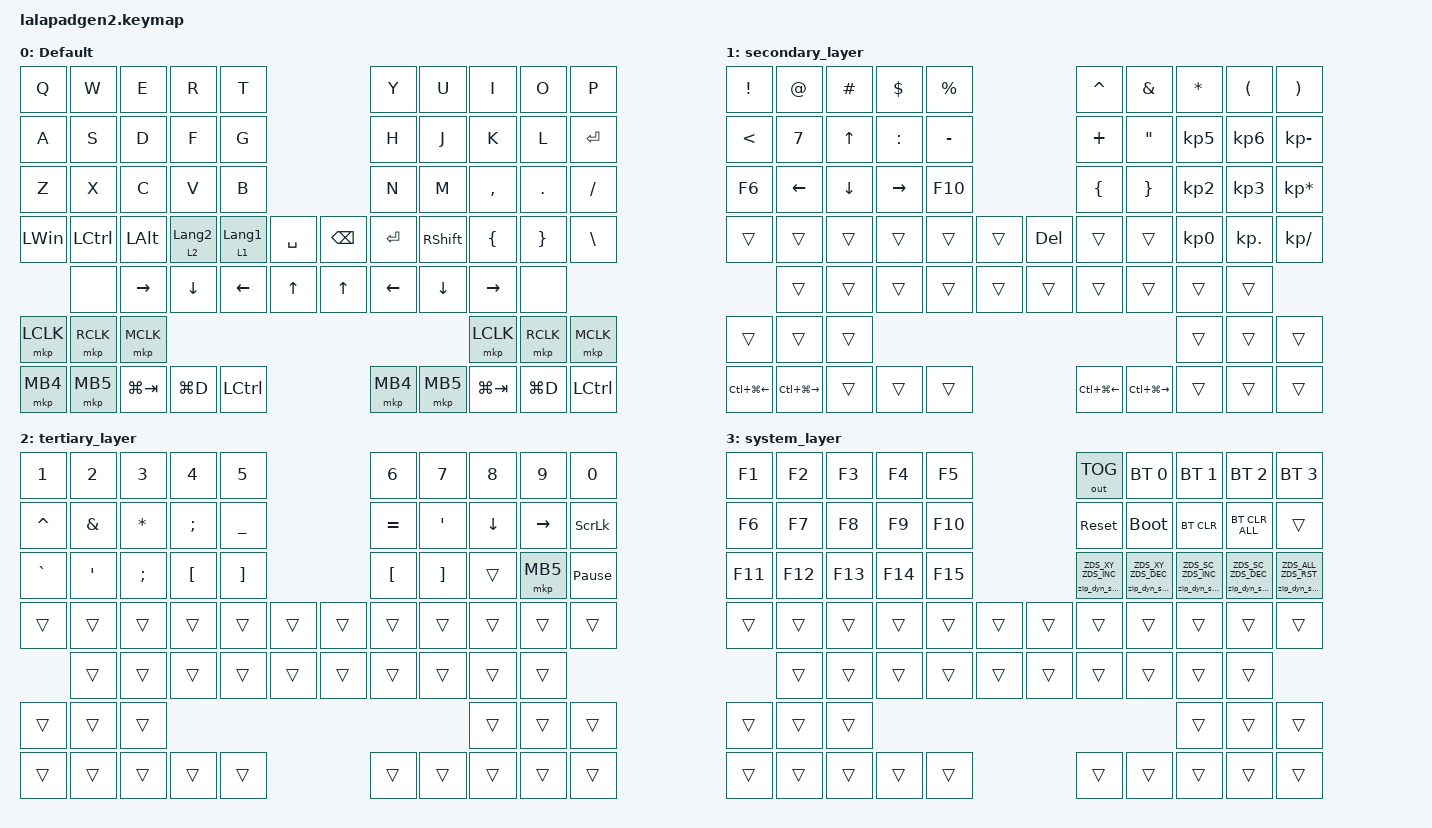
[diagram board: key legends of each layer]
#include <input/processors.dtsi>
#include <dt-bindings/zmk/zip_dynamic_scale.h>
#include <behaviors.dtsi>
#include <dt-bindings/zmk/bt.h>
#include <dt-bindings/zmk/keys.h>
#include <dt-bindings/zmk/outputs.h>
#include <dt-bindings/zmk/pointing.h>

#define DEFAULT_LAYER   0
#define SECONDARY_LAYER 1
#define TERTIARY_LAYER  2
#define SYSTEM_LAYER    3

&mt { quick-tap-ms = <200>; };

&lt { quick-tap-ms = <200>; };

/ {
    behaviors {
        zip_dyn_scale: zip_dyn_scale {
            compatible = "zmk,behavior-zip-dynamic-scale";
            #binding-cells = <2>;
        };

        zip_dyn_scale_set: zip_dyn_scale_set {
            compatible = "zmk,behavior-zip-dynamic-scale-set";
            #binding-cells = <2>;
        };

        mt2: mod_tap2 {
            compatible = "zmk,behavior-hold-tap";
            #binding-cells = <2>;
            flavor = "tap-preferred";
            tapping-term-ms = <200>;
            quick-tap-ms = <200>;
            require-prior-idle-ms = <125>;
            bindings = <&kp>, <&kp>;
        };

        tap_dance_layer_1and2: tap_dance_layer_1and2 {
            compatible = "zmk,behavior-tap-dance";
            label = "td_mo12";
            #binding-cells = <0>;
            bindings = <&mo 1>, <&mo 2>;
        };
    };

    combos {
        compatible = "zmk,combos";

        combo_l_tab {
            bindings = <&kp TAB>;
            key-positions = <10 11>;
        };

        combo_r_screenshot {
            bindings = <&kp PRINTSCREEN>;
            key-positions = <16 17>;
        };
    };

    keymap {
        compatible = "zmk,keymap";

        DEFAULT_LAYER {
            display-name = "Default";
            bindings = <
&kp Q         &kp W      &kp E         &kp R             &kp T                                       &kp Y      &kp U            &kp I           &kp O            &kp P
&kp A         &kp S      &kp D         &kp F             &kp G                                       &kp H      &kp J            &kp K           &kp L            &kp ENTER
&kp Z         &kp X      &kp C         &kp V             &kp B                                       &kp N      &kp M            &kp COMMA       &kp PERIOD       &kp SLASH
&kp LEFT_WIN  &kp LCTRL  &kp LEFT_ALT  &lt 2 LANGUAGE_2  &lt 1 LANGUAGE_1  &kp SPACE  &kp BACKSPACE  &kp ENTER  &kp RIGHT_SHIFT  &kp LEFT_BRACE  &kp RIGHT_BRACE  &kp BACKSLASH
              &none      &kp RIGHT     &kp DOWN          &kp LEFT          &kp UP     &kp UP         &kp LEFT   &kp DOWN         &kp RIGHT       &none
&mkp LCLK     &mkp RCLK  &mkp MCLK                                                                                               &mkp LCLK       &mkp RCLK        &mkp MCLK
&mkp MB4      &mkp MB5   &kp LG(TAB)   &kp LG(D)         &kp LCTRL                                   &mkp MB4   &mkp MB5         &kp LG(TAB)     &kp LG(D)        &kp LCTRL
            >;
        };

        SECONDARY_LAYER {
            display-name = "secondary_layer";
            bindings = <
&kp EXCLAMATION   &kp AT             &kp HASH        &kp DLLR   &kp PERCENT                   &kp CARET         &kp AMPS           &kp ASTRK        &kp LPAR         &kp RPAR
&kp LT            &kp N7             &kp UP_ARROW    &kp COLON  &kp MINUS                     &kp PLUS          &kp DOUBLE_QUOTES  &kp KP_NUMBER_5  &kp KP_NUMBER_6  &kp KP_MINUS
&kp F6            &kp LEFT           &kp DOWN_ARROW  &kp RIGHT  &kp F10                       &kp LEFT_BRACE    &kp RBRC           &kp KP_NUMBER_2  &kp KP_NUMBER_3  &kp KP_ASTERISK
&trans            &trans             &trans          &trans     &trans       &trans  &kp DEL  &trans            &trans             &kp KP_NUMBER_0  &kp KP_DOT       &kp KP_DIVIDE
                  &trans             &trans          &trans     &trans       &trans  &trans   &trans            &trans             &trans           &trans
&trans            &trans             &trans                                                                                        &trans           &trans           &trans
&kp LC(LG(LEFT))  &kp LC(LG(RIGHT))  &trans          &trans     &trans                        &kp LC(LG(LEFT))  &kp LC(LG(RIGHT))  &trans           &trans           &trans
            >;
        };

        TERTIARY_LAYER {
            display-name = "tertiary_layer";
            bindings = <
&kp NUMBER_1  &kp NUMBER_2   &kp NUMBER_3  &kp NUMBER_4      &kp NUMBER_5                       &kp NUMBER_6      &kp NUMBER_7       &kp N8          &kp N9     &kp N0
&kp CARET     &kp AMPERSAND  &kp ASTERISK  &kp SEMICOLON     &kp UNDERSCORE                     &kp EQUAL         &kp SQT            &kp DOWN_ARROW  &kp RIGHT  &kp SCROLLLOCK
&kp GRAVE     &kp SQT        &kp SEMI      &kp LEFT_BRACKET  &kp RIGHT_BRACKET                  &kp LEFT_BRACKET  &kp RIGHT_BRACKET  &trans          &mkp MB5   &kp PAUSE_BREAK
&trans        &trans         &trans        &trans            &trans             &trans  &trans  &trans            &trans             &trans          &trans     &trans
              &trans         &trans        &trans            &trans             &trans  &trans  &trans            &trans             &trans          &trans
&trans        &trans         &trans                                                                                                  &trans          &trans     &trans
&trans        &trans         &trans        &trans            &trans                             &trans            &trans             &trans          &trans     &trans
            >;
        };

        SYSTEM_LAYER {
            display-name = "system_layer";
            bindings = <
&kp F1   &kp F2   &kp F3   &kp F4   &kp F5                   &out OUT_TOG                   &bt BT_SEL 0                   &bt BT_SEL 1                   &bt BT_SEL 2                   &bt BT_SEL 3
&kp F6   &kp F7   &kp F8   &kp F9   &kp F10                  &sys_reset                     &bootloader                    &bt BT_CLR                     &bt BT_CLR_ALL                 &trans
&kp F11  &kp F12  &kp F13  &kp F14  &kp F15                  &zip_dyn_scale ZDS_XY ZDS_INC  &zip_dyn_scale ZDS_XY ZDS_DEC  &zip_dyn_scale ZDS_SC ZDS_INC  &zip_dyn_scale ZDS_SC ZDS_DEC  &zip_dyn_scale ZDS_ALL ZDS_RST
&trans   &trans   &trans   &trans   &trans   &trans  &trans  &trans                         &trans                         &trans                         &trans                         &trans
         &trans   &trans   &trans   &trans   &trans  &trans  &trans                         &trans                         &trans                         &trans
&trans   &trans   &trans                                                                                                   &trans                         &trans                         &trans
&trans   &trans   &trans   &trans   &trans                   &trans                         &trans                         &trans                         &trans                         &trans
            >;
        };
    };

    conditional_layers {
        compatible = "zmk,conditional-layers";

        Cond_Syslayer {
            if-layers = <1 2>;
            then-layer = <3>;
        };
    };
};
